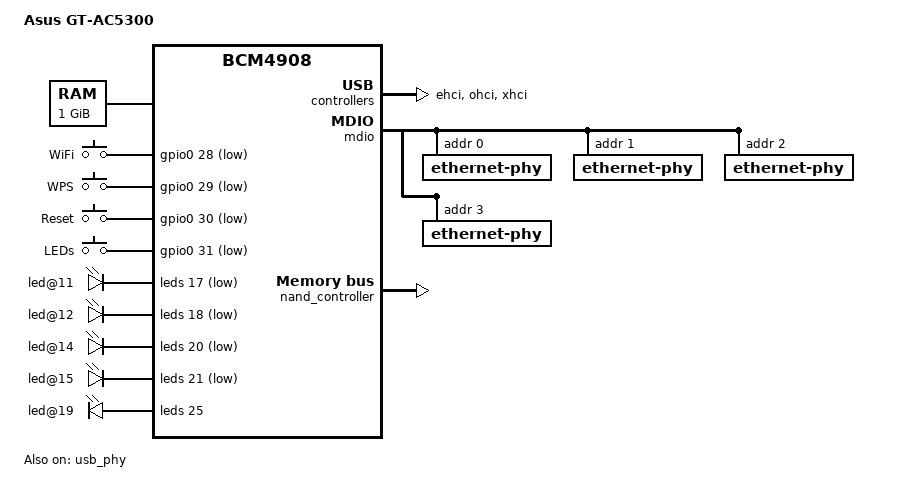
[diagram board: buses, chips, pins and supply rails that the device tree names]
// SPDX-License-Identifier: GPL-2.0-or-later OR MIT

#include <dt-bindings/gpio/gpio.h>
#include <dt-bindings/input/input.h>
#include <dt-bindings/leds/common.h>

#include "bcm4908.dtsi"

/ {
	compatible = "asus,gt-ac5300", "brcm,bcm4908", "brcm,bcmbca";
	model = "Asus GT-AC5300";

	memory@0 {
		device_type = "memory";
		reg = <0x00 0x00 0x00 0x40000000>;
	};

	gpio-keys-polled {
		compatible = "gpio-keys-polled";
		poll-interval = <100>;

		key-wifi {
			label = "WiFi";
			linux,code = <KEY_RFKILL>;
			gpios = <&gpio0 28 GPIO_ACTIVE_LOW>;
		};

		key-wps {
			label = "WPS";
			linux,code = <KEY_WPS_BUTTON>;
			gpios = <&gpio0 29 GPIO_ACTIVE_LOW>;
		};

		key-restart {
			label = "Reset";
			linux,code = <KEY_RESTART>;
			gpios = <&gpio0 30 GPIO_ACTIVE_LOW>;
		};

		key-brightness {
			label = "LEDs";
			linux,code = <KEY_BRIGHTNESS_ZERO>;
			gpios = <&gpio0 31 GPIO_ACTIVE_LOW>;
		};
	};
};

&enet {
	nvmem-cells = <&base_mac_addr>;
	nvmem-cell-names = "mac-address";
};

&usb_phy {
	brcm,ioc = <1>;
	status = "okay";
};

&ehci {
	status = "okay";
};

&ohci {
	status = "okay";
};

&xhci {
	status = "okay";
};

&ports {
	port@0 {
		label = "lan2";
	};

	port@1 {
		label = "lan1";
	};

	port@2 {
		label = "lan6";
	};

	port@3 {
		label = "lan5";
	};

	/* External BCM53134S switch */
	port@7 {
		label = "sw";
		reg = <7>;
		phy-mode = "rgmii";

		fixed-link {
			speed = <1000>;
			full-duplex;
		};
	};
};

&mdio {
	/* lan8 */
	ethernet-phy@0 {
		reg = <0>;
	};

	/* lan7 */
	ethernet-phy@1 {
		reg = <1>;
	};

	/* lan4 */
	ethernet-phy@2 {
		reg = <2>;
	};

	/* lan3 */
	ethernet-phy@3 {
		reg = <3>;
	};
};

&leds {
	led@11 {
		reg = <0x11>;
		function = LED_FUNCTION_POWER;
		color = <LED_COLOR_ID_WHITE>;
		default-state = "on";
		active-low;
		pinctrl-names = "default";
		pinctrl-0 = <&pins_led_17_a>;
	};

	led@12 {
		reg = <0x12>;
		function = LED_FUNCTION_WAN;
		color = <LED_COLOR_ID_RED>;
		active-low;
		pinctrl-names = "default";
		pinctrl-0 = <&pins_led_18_a>;
	};

	led@14 {
		reg = <0x14>;
		function = LED_FUNCTION_WPS;
		color = <LED_COLOR_ID_WHITE>;
		active-low;
		pinctrl-names = "default";
		pinctrl-0 = <&pins_led_20_a>;
	};

	led@15 {
		reg = <0x15>;
		function = LED_FUNCTION_WAN;
		color = <LED_COLOR_ID_WHITE>;
		active-low;
		pinctrl-names = "default";
		pinctrl-0 = <&pins_led_21_a>;
	};

	led@19 {
		reg = <0x19>;
		function = LED_FUNCTION_LAN;
		color = <LED_COLOR_ID_WHITE>;
		pinctrl-names = "default";
		pinctrl-0 = <&pins_led_25_a>;
	};
};

&nand_controller {
	brcm,wp-not-connected;
	status = "okay";
};

&nandcs {
	nand-ecc-strength = <4>;
	nand-ecc-step-size = <512>;
	nand-on-flash-bbt;

	#address-cells = <1>;
	#size-cells = <0>;

	partitions {
		compatible = "brcm,bcm4908-partitions";
		#address-cells = <1>;
		#size-cells = <1>;

		partition@0 {
			label = "cferom";
			reg = <0x0 0x100000>;

			nvmem-layout {
				compatible = "fixed-layout";
				#address-cells = <1>;
				#size-cells = <1>;

				base_mac_addr: mac@106a0 {
					reg = <0x106a0 0x6>;
				};
			};
		};

		partition@100000 {
			compatible = "brcm,bcm4908-firmware";
			reg = <0x100000 0x5700000>;
		};

		partition@5800000 {
			compatible = "brcm,bcm4908-firmware";
			reg = <0x5800000 0x5700000>;
		};
	};
};
